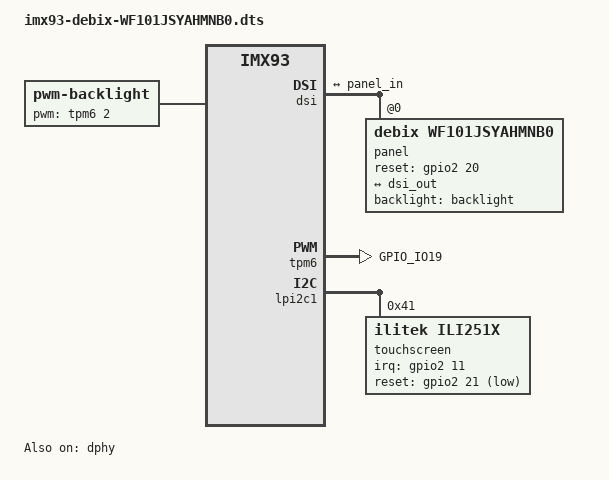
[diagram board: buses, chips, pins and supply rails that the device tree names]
// SPDX-License-Identifier: (GPL-2.0+ OR MIT)
/*
 * Copyright 2022 NXP
 */

#include "imx93-11x11-evk.dts"

/ {
	backlight: backlight {
		compatible = "pwm-backlight";
                //pinctrl-names = "default";
		//pinctrl-0 = <&pinctrl_pwm>;
		pwms = <&tpm6 2 100000 0>;
		//enable-gpios = <&gpio2 20 GPIO_ACTIVE_HIGH>;
		//power-supply = <&reg_vdd_12v>;
		status = "okay";

		brightness-levels = < 0  1  2  3  4  5  6  7  8  9
				     10 11 12 13 14 15 16 17 18 19
				     20 21 22 23 24 25 26 27 28 29
				     30 31 32 33 34 35 36 37 38 39
				     40 41 42 43 44 45 46 47 48 49
				     50 51 52 53 54 55 56 57 58 59
				     60 61 62 63 64 65 66 67 68 69
				     70 71 72 73 74 75 76 77 78 79
				     80 81 82 83 84 85 86 87 88 89
				     90 91 92 93 94 95 96 97 98 99
				    100>;
		default-brightness-level = <80>;
	};


//	debix-pwm {
//		compatible = "debix,debix-pwm";    /* compatible属性 */
 //               pinctrl-0 = <&pinctrl_debix_pwm>;
		//power-gpios = <&gpio2 12 0>;           /* pwm en gpio */
//		pwm-gpios = <&gpio2 19 0>;           /* pwm输出gpio */
//		npwm = <1>;                     /* pwm通道个数 */
//		status = "disabled";
//	};
};

/*
&adv7535 {
	status = "disabled";
};
*/

&dphy {
	status = "okay";
};

&dsi {
	#address-cells = <1>;
	#size-cells = <0>;

	status = "okay";
        panel@0 {
                compatible = "debix,WF101JSYAHMNB0";
                reg = <0>;
                backlight = <&backlight>;
                pinctrl-0 = <&pinctrl_mipi_dsi_en>;
                reset-gpio = <&gpio2 20 GPIO_ACTIVE_HIGH>;
                dsi-lanes = <4>;
                video-mode = <2>;       /* 0: burst mode
                                         * 1: non-burst mode with sync event
                                         * 2: non-burst mode with sync pulse
                                         */
                panel-width-mm = <107>;
                panel-height-mm = <172>;
                status = "okay";
		port {
			panel_in: endpoint {
				remote-endpoint = <&dsi_out>;
			};
		};
	};

	ports {
		port@1 {
			reg = <1>;

			dsi_out: endpoint {
				remote-endpoint = <&panel_in>;
			};
		};

        };

};

&lcdif {
	assigned-clock-rates = <174000000>, <43500000>, <400000000>, <133333333>;
	//assigned-clock-rates = <300000000>, <75000000>, <400000000>, <133333333>;
};

&ldb {
	status = "disabled";

};

&ldb_phy {
	status = "disabled";
};
&tpm6 {
	pinctrl-names = "default";
	pinctrl-0 = <&pinctrl_pwm6>;
	status = "okay";
};

&lpi2c1 {
        touchscreen@41 {
                compatible = "ilitek,ili251x";
                reg = <0x41>;
                //reg = <0x14>;

                pinctrl-0 = <&pinctrl_mipiTP>;
                interrupt-parent = <&gpio2>;
                interrupts = <11 IRQ_TYPE_EDGE_RISING>;
                irq-gpios = <&gpio2 11 GPIO_ACTIVE_HIGH>;        /* CTP-INT: PH4 */
                reset-gpios = <&gpio2 21 GPIO_ACTIVE_LOW>;     /* CTP-RST: PH11 */
                //touchscreen-inverted-x;
                //touchscreen-inverted-y;
                //edge-failling-trigger;
		touchscreen-size-x = <16384>;
                touchscreen-size-y = <16384>;

                status = "okay";
        };

};


&iomuxc {
	pinctrl_mipiTP: mipiTPgrp {
                fsl,pins = <
			/*int*/
			MX93_PAD_GPIO_IO11__GPIO2_IO11 0x139e
			/* rst */
			MX93_PAD_GPIO_IO21__GPIO2_IO21 0x139e
                >;
        };

        pinctrl_mipi_dsi_en: mipidsiengrp {
                fsl,pins = <
			MX93_PAD_GPIO_IO20__GPIO2_IO20 0x139e
                >;
        };

	pinctrl_pwm6: pwm6grp {
		fsl,pins = <
			MX93_PAD_GPIO_IO19__TPM6_CH2 0x39e
			//MX93_PAD_GPIO_IO13__TPM4_CH2 0x39e
		>;
	};
};
